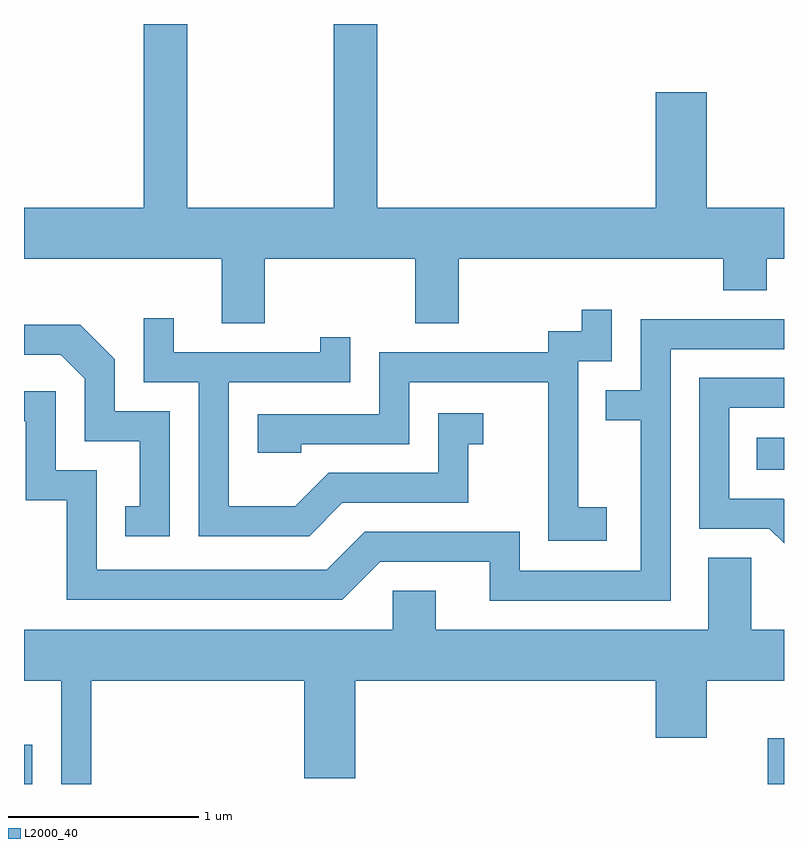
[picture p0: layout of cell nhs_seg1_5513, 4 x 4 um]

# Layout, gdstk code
import gdstk
lib = gdstk.Library(unit=1e-6, precision=1e-09)
def R(c, l, rs):  # rectangles x0, y0, x1, y1
    for r in rs: c.add(gdstk.rectangle(r[:2], r[2:], *l))
def P(c, l, *ps):  # polygons
    for p in ps: c.add(gdstk.Polygon(p, *l))
L2000_40 = (2000, 40)

nhs_seg1_5513 = lib.new_cell('nhs_seg1_5513')
R(nhs_seg1_5513, L2000_40, [(351.611,885.712,351.654,885.919), (355.526,885.712,355.611,885.954), (355.468,887.366,355.611,887.534)])
P(nhs_seg1_5513, L2000_40, [(352.879,888.476),(353.671,888.476),(353.671,888.136),(353.899,888.136),(353.899,888.476),(355.291,888.476),(355.291,888.311),(355.519,888.311),(355.519,888.476),(355.611,888.476),(355.611,888.744),(355.204,888.744),(355.204,889.354),(354.936,889.354),(354.936,888.744),(353.469,888.744),(353.469,889.712),(353.241,889.712),(353.241,888.744),(352.469,888.744),(352.469,889.712),(352.241,889.712),(352.241,888.744),(351.611,888.744),(351.611,888.476),(352.651,888.476),(352.651,888.136),(352.879,888.136)],
  [(354.679,887.169),(354.529,887.169),(354.529,887.936),(354.704,887.936),(354.704,888.208),(354.546,888.208),(354.546,888.094),(354.371,888.094),(354.371,887.984),(353.481,887.984),(353.481,887.659),(352.841,887.659),(352.841,887.456),(353.069,887.456),(353.069,887.501),(353.639,887.501),(353.639,887.826),(354.371,887.826),(354.371,886.991),(354.679,886.991)],
  [(353.287,887.191),(353.949,887.191),(353.949,887.501),(354.028,887.501),(354.028,887.664),(353.791,887.664),(353.791,887.349),(353.214,887.349),(353.039,887.174),(352.689,887.174),(352.689,887.826),(353.329,887.826),(353.329,888.063),(353.171,888.063),(353.171,887.984),(352.399,887.984),(352.399,888.163),(352.241,888.163),(352.241,887.826),(352.531,887.826),(352.531,887.016),(353.112,887.016)],
  [(355.014,888.001),(355.611,888.001),(355.611,888.159),(354.856,888.159),(354.856,887.784),(354.673,887.784),(354.673,887.626),(354.856,887.626),(354.856,886.834),(354.219,886.834),(354.219,887.039),(353.404,887.039),(353.204,886.839),(351.994,886.839),(351.994,887.364),(351.779,887.364),(351.779,887.779),(351.611,887.779),(351.611,887.621),(351.621,887.621),(351.621,887.206),(351.836,887.206),(351.836,886.681),(353.287,886.681),(353.487,886.881),(354.061,886.881),(354.061,886.676),(355.014,886.676)],
  [(352.379,887.674),(352.089,887.674),(352.089,887.947),(351.907,888.129),(351.611,888.129),(351.611,887.971),(351.804,887.971),(351.931,887.844),(351.931,887.516),(352.221,887.516),(352.221,887.174),(352.143,887.174),(352.143,887.016),(352.379,887.016)],
  [(355.611,887.21),(355.607,887.214),(355.324,887.214),(355.324,887.691),(355.611,887.691),(355.611,887.849),(355.166,887.849),(355.166,887.056),(355.534,887.056),(355.611,886.979)],
  [(351.964,886.256),(353.086,886.256),(353.086,885.741),(353.354,885.741),(353.354,886.256),(354.936,886.256),(354.936,885.956),(355.204,885.956),(355.204,886.256),(355.611,886.256),(355.611,886.524),(355.439,886.524),(355.439,886.904),(355.211,886.904),(355.211,886.524),(353.779,886.524),(353.779,886.729),(353.551,886.729),(353.551,886.524),(351.611,886.524),(351.611,886.256),(351.806,886.256),(351.806,885.712),(351.964,885.712)])

lib.write_gds('nhs_seg1_5513.gds')
